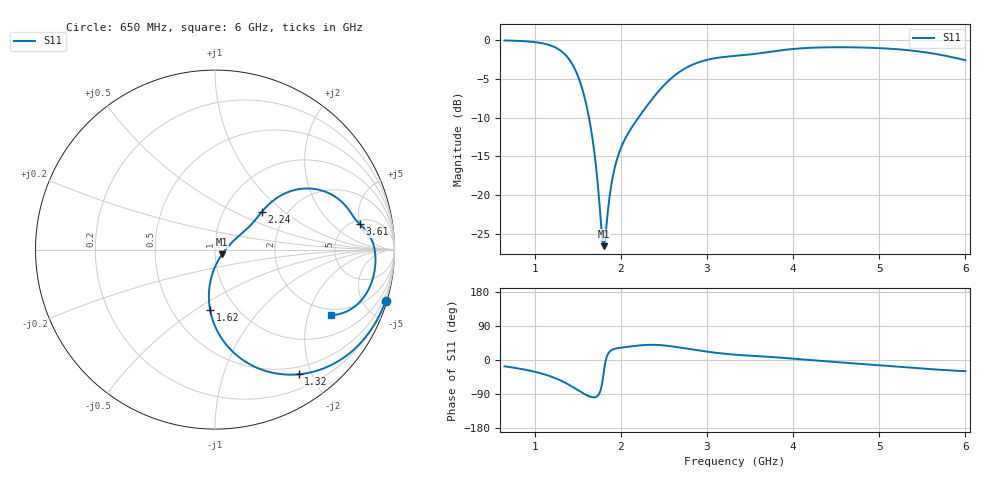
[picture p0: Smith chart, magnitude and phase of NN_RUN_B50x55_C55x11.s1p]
! IGNION VIRTUAL ANTENNA LIBRARY
! NN_RUN_B50x55_C55x11
! Virtual Antenna™ RUN mXTEND™: NN02-224 12.0 mm x 3.0 mm x 2.4 mm
! https://ignion.io/product/run-mxtend/
! Board: 50 mm x 55 mm
! Clearance Area: 55 mm x 11 mm
! Feeding line: L-shape; 11mm x 2mm and 5mm x 2mm
! Applications: Fleet management, IoT
! Frequency range 0.65GHz to 6GHz, step 10MHz
! Number of ports 1
! This product and its use is protected by at least one or more of the following patents and patent
! applications US 8,203,492 B2; US 8,237,615 B2; PCT/EP2013/064692; WO 2014/012842 A1; US 2019/190122 A1;
! US 62/072,671; and other domestic and international patents pending. Additional information about
! patents related to this product is available at https://ignion.io/files/Patent-list-NN.pdf, all
! rights reserved. Copyright, Ignion 2021.
! Need more help? Your platform is much different than these examples in the manual? Use our
! Fast Track service (https://ignion.io/fast-track/), for free, and get a personalized antenna design in
! just 24 hours.
! Touchstone port 1 = "Series Port"
! IE3D S-Parameters Output Version 2.0
# GHZ S MA R 50
! Nport = 1
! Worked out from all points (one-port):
!   536 points, 650 MHz to 6 GHz, reference 50 ohm
!   lowest |S11| = -26.5 dB at 1.8 GHz (marker M1), VSWR 1.10, Z = 54 - j2.83 ohm
!   |S11| at or under -10 dB: 1.63 GHz to 2.204 GHz (574.1 MHz wide, 30 % of centre)
!   S11 on the Smith chart (normalised r, x): 650 MHz: 0.18, -6.82; 1.32 GHz: 0.39, -1.81; 1.62 GHz: 0.76, -0.57; 2.24 GHz: 1.50, +0.72; 3.61 GHz: 5.74, +4.97; 6 GHz: 1.74, -2.81
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0.65  0.9923 -16.7
0.87  0.9821 -24.8
1.05  0.9597 -33.9
1.19  0.9186 -43.7
1.32  0.8367 -56.1
1.39  0.7621 -64.5
1.46  0.6592 -73.8
1.55  0.487 -86.3
1.62  0.3367 -94.7
1.7  0.1739 -98.1
1.73  0.1211 -94.6
1.78  0.05516 -64.1
1.8  0.04707 -33.8
1.82  0.05468 -5.5
1.87  0.09909 22.1
1.9  0.1265 27.1
1.99  0.1949 32.2
2.08  0.2482 34.8
2.24  0.3375 39.0
2.48  0.4967 38.9
2.66  0.6112 33.9
2.98  0.7398 22.7
3.33  0.7897 14.0
3.61  0.8202 10.0
4  0.8747 3.6
4.67  0.8963 -8.4
5.34  0.8584 -19.8
6  0.7408 -29.5
